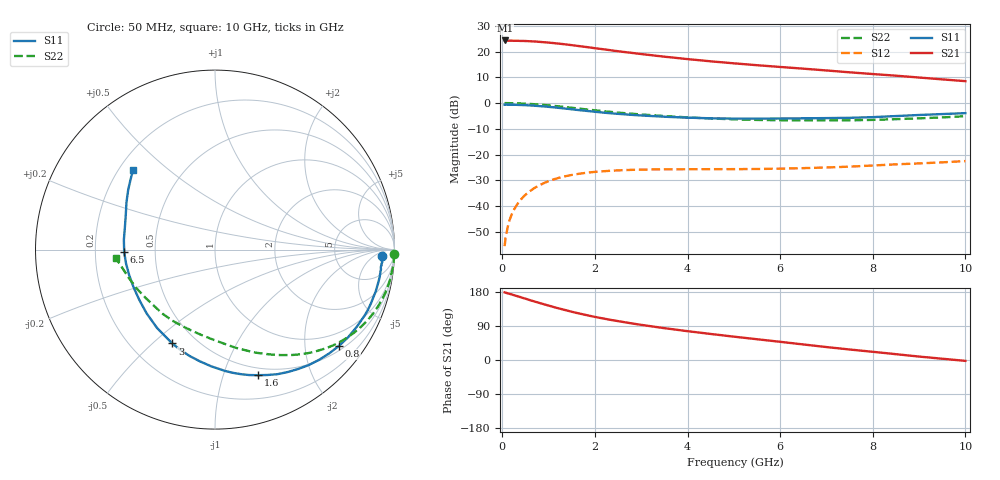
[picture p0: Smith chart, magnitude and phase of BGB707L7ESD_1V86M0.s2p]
!  Infineon Technologies AG
!  BGB707L7ESD RU919007 w#7 Sample Build #08493 Teil Nr. 3
!  Vce = 1.8V, Ic = 6.0mA
!  DATUM: 30.06.2009 10:15:36
# GHz  S  MA  R  50
!f  S11  S21  S12  S22
!GHz  Mag  Ang  Mag  Ang  Mag  Ang  Mag  Ang
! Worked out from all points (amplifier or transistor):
!   52 points, 50 MHz to 10 GHz, reference 50 ohm
!   highest |S21| = 24.3 dB at 60 MHz (marker M1)
!   |S21| within 3 dB of that: start of sweep to 1.999 GHz
!   unconditionally stable (mu >= 1): 6.01 GHz to end of sweep
!   at 130 MHz: K = -0.02, MSG = 35.8 dB, |S12| = -47.3 dB
!   at 1.4 GHz: K = 0.18, MSG = 25.5 dB, |S12| = -28.3 dB
!   at 10 GHz: K = 1.02, MAG = 14.6 dB, |S12| = -22.5 dB
!   lowest NFmin = 0.45 dB at 100 MHz
!   S11 on the Smith chart (normalised r, x): 50 MHz: 21, -12; 800 MHz: 0.61, -2.80; 1.6 GHz: 0.42, -1.31; 3 GHz: 0.37, -0.58; 6.5 GHz: 0.33, -0.01; 10 GHz: 0.26, +0.38
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0.05  0.9303 -2.2  16.18 178.4  0.001659 80.5  0.9981 -1.4
0.06  0.934 -3.2  16.47 178.0  0.001969 86.6  0.9979 -1.8
0.08  0.9305 -3.7  16.2 177.1  0.002583 87.3  0.9984 -2.5
0.09  0.9348 -4.3  16.34 177.3  0.002913 87.3  0.9984 -2.8
0.1  0.9305 -4.9  16.26 176.4  0.003261 88.4  0.9979 -3.1
0.2  0.9301 -9.7  16.32 173.1  0.006787 84.7  0.9949 -6.4
0.45  0.9155 -21.6  16.13 163.5  0.01494 77.2  0.9787 -14.4
0.8  0.8745 -37.8  15.48 150.7  0.02528 67.3  0.9355 -25.1
1  0.8446 -46.6  14.95 143.6  0.03043 61.9  0.9027 -30.9
1.2  0.8103 -55.2  14.35 136.8  0.03484 57.1  0.8669 -36.3
1.6  0.7394 -71.1  13 124.4  0.04156 48.5  0.7924 -46.0
1.8  0.7085 -78.3  12.34 119.0  0.04403 45.0  0.7568 -50.3
2  0.6782 -85.3  11.66 113.8  0.04603 41.8  0.7236 -54.3
2.4  0.6276 -97.9  10.45 104.6  0.04874 36.7  0.6663 -61.4
3  0.5747 -114.5  8.969 92.8  0.05093 31.4  0.6006 -70.9
3.5  0.5431 -126.5  7.972 84.0  0.05168 28.5  0.5602 -77.9
4.5  0.5063 -146.5  6.478 68.7  0.05199 26.4  0.5022 -91.0
5.5  0.4989 -163.5  5.444 54.8  0.05239 27.4  0.4706 -105.5
6.5  0.5061 -178.4  4.664 41.0  0.05445 30.2  0.4619 -121.1
7  0.5107 173.8  4.304 34.1  0.05607 31.6  0.4614 -129.4
8.5  0.5596 151.8  3.408 15.4  0.06451 34.6  0.4873 -153.6
10  0.6374 135.6  2.667 -2.3  0.07475 35.1  0.5561 -175.4
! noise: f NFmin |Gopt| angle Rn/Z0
0.1  0.45  0.46  2  0.18
0.45  0.53  0.46  4  0.18
0.9  0.61  0.47  12  0.18
1.8  0.63  0.4  33  0.17
5  0.92  0.31  70  0.16
10  1.53  0.4  -131  0.13
